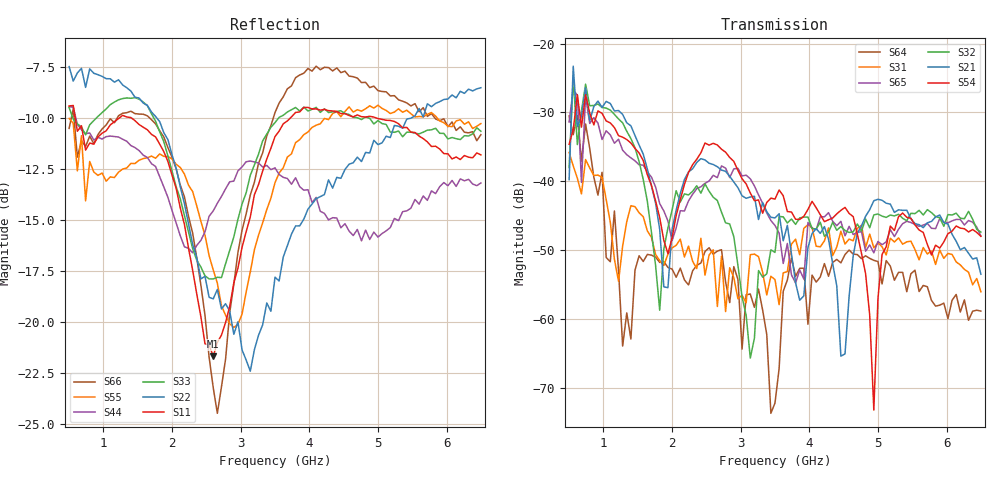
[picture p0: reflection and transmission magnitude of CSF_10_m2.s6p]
!Keysight Technologies,M9804A,MY58100912,A.14.10.03
!Date: Thursday, April 27, 2023 10:28:33
!Correction: S11(C  6-Port  )
!S12(C  6-Port  )
!S13(C  6-Port  )
!S14(C  6-Port  )
!S15(C  6-Port  )
!S16(C  6-Port  )
!S21(C  6-Port  )
!S22(C  6-Port  )
!S23(C  6-Port  )
!S24(C  6-Port  )
!S25(C  6-Port  )
!S26(C  6-Port  )
!S31(C  6-Port  )
!S32(C  6-Port  )
!S33(C  6-Port  )
!S34(C  6-Port  )
!S35(C  6-Port  )
!S36(C  6-Port  )
!S41(C  6-Port  )
!S42(C  6-Port  )
!S43(C  6-Port  )
!S44(C  6-Port  )
!S45(C  6-Port  )
!S46(C  6-Port  )
!S51(C  6-Port  )
!S52(C  6-Port  )
!S53(C  6-Port  )
!S54(C  6-Port  )
!S55(C  6-Port  )
!S56(C  6-Port  )
!S61(C  6-Port  )
!S62(C  6-Port  )
!S63(C  6-Port  )
!S64(C  6-Port  )
!S65(C  6-Port  )
!S66(C  6-Port  )
!S6P File: Measurement: :
# Hz S  RI  R 50
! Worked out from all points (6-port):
!   101 points, 500 MHz to 6.5 GHz, reference 50 ohm
!   strongest paths, dB at 500 MHz, 2 GHz, 3.5 GHz, 5 GHz, 6.5 GHz:
!     S54: -34.6, -48.2, -42.6, -57.1, -48.0
!     S21: -39.8, -47.0, -45.3, -42.6, -53.5
!     S32: -38.0, -44.2, -50.3, -44.8, -47.4
!     S65: -31.4, -48.6, -46.4, -48.8, -48.0
!     S31: -35.8, -49.7, -54.3, -48.9, -56.1
!     S64: -30.5, -52.8, -72.2, -51.7, -58.9
!   lowest |S11| = -21.7 dB at 2.6 GHz (marker M1), VSWR 1.18, Z = 42.7 + j2.1 ohm
!   |S11| at or under -10 dB: 588.7 MHz to 1.234 GHz (645.8 MHz wide, 70.8 % of centre); 1.405 GHz to 3.726 GHz (2.321 GHz wide, 90.5 % of centre); 4.971 GHz to end of sweep
